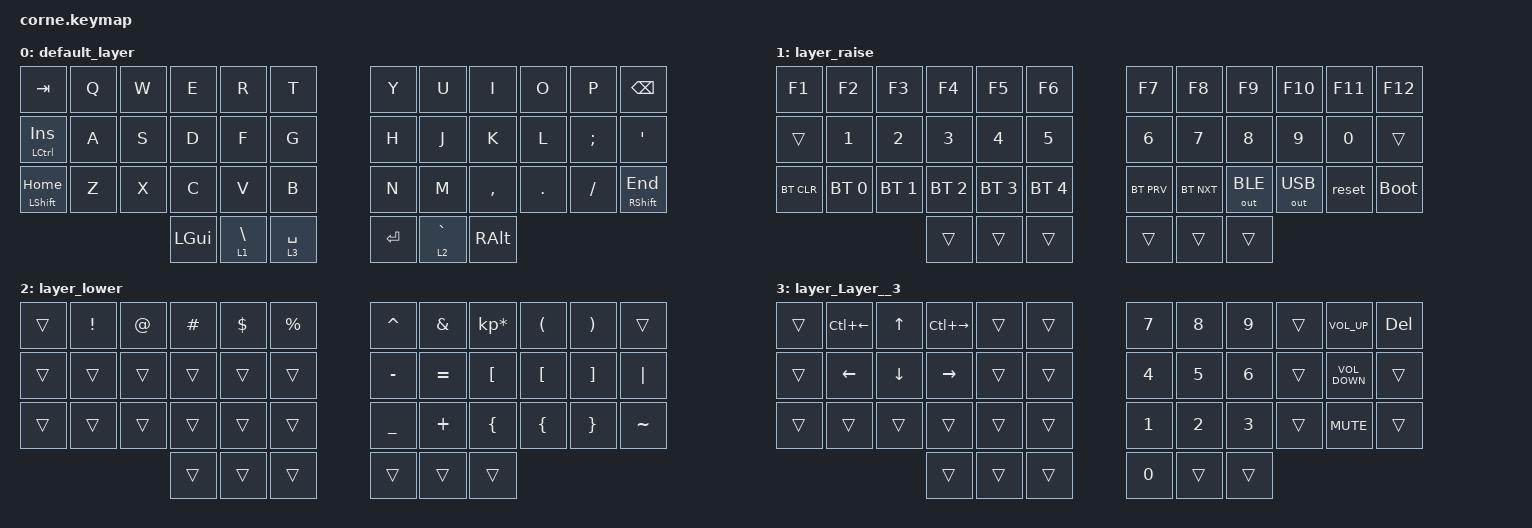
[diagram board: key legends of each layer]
/*
 * Copyright (c) 2020 The ZMK Contributors
 *
 * SPDX-License-Identifier: MIT
 *
 * ajcav2@alex-desktop:~/zmk/app$ source ../zephyr/zephyr-env.sh
 * ajcav2@alex-desktop:~/zmk/app$ west build -d build/left -p -b nice_nano_v2 -- -DSHIELD=corne_left
 * ajcav2@alex-desktop:~/zmk/app$ west build -d build/right -p -b nice_nano_v2 -- -DSHIELD=corne_right
 */

#include <behaviors.dtsi>
#include <dt-bindings/zmk/keys.h>
#include <dt-bindings/zmk/bt.h>
#include <dt-bindings/zmk/outputs.h>

/ {
    keymap {
        compatible = "zmk,keymap";


        default_layer {
            bindings = <
             &kp TAB   &kp Q   &kp W     &kp E            &kp R        &kp T               &kp Y        &kp U      &kp I    &kp O     &kp P        &kp BACKSPACE
    &mt LCTRL INSERT   &kp A   &kp S     &kp D            &kp F        &kp G               &kp H        &kp J      &kp K    &kp L  &kp SEMI       &kp APOSTROPHE
 &mt LEFT_SHIFT HOME   &kp Z   &kp X     &kp C            &kp V        &kp B               &kp N        &kp M  &kp COMMA  &kp DOT  &kp FSLH  &mt RIGHT_SHIFT END
                                      &kp LGUI  &lt 1 BACKSLASH  &lt 3 SPACE            &kp ENTER  &lt 2 GRAVE  &kp RALT
            >;
        };

        layer_raise {
            bindings = <
     &kp F1        &kp F2        &kp F3        &kp F4        &kp F5        &kp F6                  &kp F7        &kp F8        &kp F9       &kp F10       &kp F11      &kp F12
     &trans  &kp NUMBER_1  &kp NUMBER_2  &kp NUMBER_3  &kp NUMBER_4  &kp NUMBER_5            &kp NUMBER_6  &kp NUMBER_7  &kp NUMBER_8  &kp NUMBER_9  &kp NUMBER_0       &trans
 &bt BT_CLR  &bt BT_SEL 0  &bt BT_SEL 1  &bt BT_SEL 2  &bt BT_SEL 3  &bt BT_SEL 4              &bt BT_PRV    &bt BT_NXT  &out OUT_BLE  &out OUT_USB        &reset  &bootloader
                                               &trans        &trans        &trans                  &trans        &trans        &trans
            >;
        };

        layer_lower {
            bindings = <
 &trans  &kp EXCL  &kp AT  &kp HASH  &kp DLLR  &kp PRCNT            &kp CARET   &kp AMPS  &kp KP_MULTIPLY          &kp LPAR           &kp RPAR     &trans
 &trans    &trans  &trans    &trans    &trans     &trans            &kp MINUS  &kp EQUAL         &kp LBKT  &kp LEFT_BRACKET  &kp RIGHT_BRACKET   &kp PIPE
 &trans    &trans  &trans    &trans    &trans     &trans            &kp UNDER   &kp PLUS         &kp LBRC    &kp LEFT_BRACE    &kp RIGHT_BRACE  &kp TILDE
                             &trans    &trans     &trans               &trans     &trans           &trans
            >;
        };

        layer_Layer__3 {
            bindings = <
 &trans    &kp LC(LEFT)    &kp UP_ARROW       &kp LC(RIGHT)  &trans  &trans            &kp NUMBER_7  &kp NUMBER_8  &kp NUMBER_9  &trans    &kp K_VOLUME_UP  &kp DELETE
 &trans    &kp LEFT_ARROW  &kp DOWN_ARROW   &kp RIGHT_ARROW  &trans  &trans            &kp NUMBER_4  &kp NUMBER_5  &kp NUMBER_6  &trans  &kp C_VOLUME_DOWN      &trans
 &trans            &trans          &trans            &trans  &trans  &trans            &kp NUMBER_1  &kp NUMBER_2  &kp NUMBER_3  &trans         &kp K_MUTE      &trans
                                                     &trans  &trans  &trans            &kp NUMBER_0        &trans  &trans
            >;
        };

    };
};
